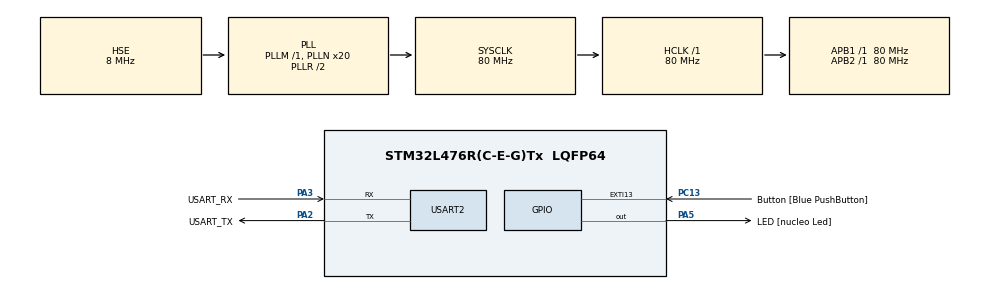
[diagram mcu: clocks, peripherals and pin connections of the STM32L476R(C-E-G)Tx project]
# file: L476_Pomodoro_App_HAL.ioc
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Mcu.Family=STM32L4
Mcu.Name=STM32L476R(C-E-G)Tx
Mcu.Package=LQFP64
NVIC.EXTI15_10_IRQn=true\:0\:0\:false\:false\:true\:true\:true\:true
NVIC.PriorityGroup=NVIC_PRIORITYGROUP_4
PA13\ (JTMS-SWDIO).GPIO_Label=TMS
PA13\ (JTMS-SWDIO).Mode=Trace_Asynchronous_SW
PA13\ (JTMS-SWDIO).Signal=SYS_JTMS-SWDIO
PA14\ (JTCK-SWCLK).GPIO_Label=TCK
PA14\ (JTCK-SWCLK).Mode=Trace_Asynchronous_SW
PA14\ (JTCK-SWCLK).Signal=SYS_JTCK-SWCLK
PA2.GPIO_Label=USART_TX
PA2.GPIO_Mode=GPIO_MODE_AF_PP
PA2.GPIO_PuPd=GPIO_NOPULL
PA2.GPIO_Speed=GPIO_SPEED_FREQ_VERY_HIGH
PA2.Mode=Asynchronous
PA2.Signal=USART2_TX
PA3.GPIO_Label=USART_RX
PA3.GPIO_Mode=GPIO_MODE_AF_PP
PA3.GPIO_PuPd=GPIO_NOPULL
PA3.GPIO_Speed=GPIO_SPEED_FREQ_VERY_HIGH
PA3.Mode=Asynchronous
PA3.Signal=USART2_RX
PA5.GPIO_Label=LED [nucleo Led]
PA5.GPIO_ModeDefaultOutputPP=GPIO_MODE_OUTPUT_PP
PA5.GPIO_PuPd=GPIO_NOPULL
PA5.GPIO_Speed=GPIO_SPEED_FREQ_LOW
PA5.Signal=GPIO_Output
PB3\ (JTDO-TRACESWO).GPIO_Label=SWO
PB3\ (JTDO-TRACESWO).Mode=Trace_Asynchronous_SW
PB3\ (JTDO-TRACESWO).Signal=SYS_JTDO-SWO
PC13.GPIO_Label=Button [Blue PushButton]
PC13.GPIO_ModeDefaultEXTI=GPIO_MODE_IT_FALLING
PC13.GPIO_PuPd=GPIO_NOPULL
PC13.Signal=GPXTI13
PC14-OSC32_IN\ (PC14).Mode=LSE-External-Oscillator
PC14-OSC32_IN\ (PC14).Signal=RCC_OSC32_IN
PC15-OSC32_OUT\ (PC15).Mode=LSE-External-Oscillator
PC15-OSC32_OUT\ (PC15).Signal=RCC_OSC32_OUT
PH0-OSC_IN\ (PH0).Mode=HSE-External-Oscillator
PH0-OSC_IN\ (PH0).Signal=RCC_OSC_IN
PH1-OSC_OUT\ (PH1).Mode=HSE-External-Oscillator
PH1-OSC_OUT\ (PH1).Signal=RCC_OSC_OUT
ProjectManager.HeapSize=0x200
ProjectManager.StackSize=0x400
ProjectManager.TargetToolchain=STM32CubeIDE
RCC.ADCFreq_Value=32000000
RCC.AHBFreq_Value=80000000
RCC.APB1Freq_Value=80000000
RCC.APB1TimFreq_Value=80000000
RCC.APB2Freq_Value=80000000
RCC.APB2TimFreq_Value=80000000
RCC.CortexFreq_Value=80000000
RCC.HCLKFreq_Value=80000000
RCC.HSE_VALUE=8000000
RCC.HSI_VALUE=16000000
RCC.MSI_VALUE=4000000
RCC.PLLN=20
RCC.PLLSourceVirtual=RCC_PLLSOURCE_HSE
RCC.PREFETCH_ENABLE=1
RCC.RTCClockSelection=RCC_RTCCLKSOURCE_LSE
RCC.SYSCLKFreq_VALUE=80000000
RCC.SYSCLKSource=RCC_SYSCLKSOURCE_PLLCLK
RCC.USBFreq_Value=32000000
RCC.VCOOutputFreq_Value=160000000
RTC.Date=12
RTC.Format=RTC_FORMAT_BCD
RTC.Hours=10
RTC.Minutes=20
RTC.Month=RTC_MONTH_AUGUST
RTC.Seconds=30
RTC.WeekDay=RTC_WEEKDAY_TUESDAY
RTC.Year=0
USART2.VirtualMode-Asynchronous=VM_ASYNC
VP_RTC_VS_RTC_Activate.Mode=RTC_Enabled
VP_RTC_VS_RTC_Calendar.Mode=RTC_Calendar
board=NUCLEO-L476RG

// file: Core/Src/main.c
/* USER CODE BEGIN Header */
/**
 ******************************************************************************
 * @file           : main.c
 * @brief          : Main program body
 ******************************************************************************
 * @attention
 *
 * Copyright (c) 2023 STMicroelectronics.
 * All rights reserved.
 *
 * This software is licensed under terms that can be found in the LICENSE file
 * in the root directory of this software component.
 * If no LICENSE file comes with this software, it is provided AS-IS.
 *
 ******************************************************************************
 */
/* USER CODE END Header */
#include "main.h"
#include "rtc.h"
#include "usart.h"
#include "gpio.h"

/* USER CODE BEGIN Includes */
#include "Common.h"
#include "Executer.h"

/* USER CODE END Includes */

/* USER CODE BEGIN PV */
BOOL bAlarmWasTriggered = FALSE;

/* USER CODE END PV */

void SystemClock_Config(void);

/* USER CODE BEGIN 0 */
#ifdef TEST
int testableMain(void)
{
#else
/* USER CODE END 0 */

int main(void)
{
  /* USER CODE BEGIN 1 */
#endif
  /* USER CODE END 1 */

  /* MCU Configuration--------------------------------------------------------*/

  /* Reset of all peripherals, Initializes the Flash interface and the Systick. */
  HAL_Init();

  /* Configure the system clock */
  SystemClock_Config();

  /* Initialize all configured peripherals */
  MX_GPIO_Init();
  MX_USART2_UART_Init();
  MX_RTC_Init();
  /* USER CODE BEGIN 2 */

  Executer_init();

  /* USER CODE END 2 */

  /* Infinite loop */
  /* USER CODE BEGIN WHILE */
  while (Executer_exec() == STATUS_OK)
  {
    /* USER CODE END WHILE */

    /* USER CODE BEGIN 3 */
    /**
     * Get the current time and date.
     * These are stored in the sTime
     * and the sDate handles
     */
    RTC_TimeTypeDef sTime = {0};
    RTC_DateTypeDef sDate = {0};
    // RTC_AlarmTypeDef sAlarm = {0};

    HAL_RTC_GetTime(&hrtc, &sTime, RTC_FORMAT_BIN);
    HAL_RTC_GetDate(&hrtc, &sDate, RTC_FORMAT_BIN);

    log_info("%d:%d:%d", sTime.Hours, sTime.Minutes, sTime.Seconds);
    log_info("%d-%d-%d-%d", sDate.Year, sDate.Date, sDate.Month, sDate.WeekDay);
    log_info("--------------------");

    if (bAlarmWasTriggered == TRUE)
    {
      HAL_GPIO_TogglePin(LED_GPIO_Port, LED_Pin);
    }
    HAL_Delay(1000);
  }
  /* USER CODE END 3 */
}

void SystemClock_Config(void)
{
  RCC_OscInitTypeDef RCC_OscInitStruct = {0};
  RCC_ClkInitTypeDef RCC_ClkInitStruct = {0};

  /** Configure the main internal regulator output voltage
  */
  if (HAL_PWREx_ControlVoltageScaling(PWR_REGULATOR_VOLTAGE_SCALE1) != HAL_OK)
  {
    Error_Handler();
  }

  /** Configure LSE Drive Capability
  */
  HAL_PWR_EnableBkUpAccess();
  __HAL_RCC_LSEDRIVE_CONFIG(RCC_LSEDRIVE_LOW);

  /** Initializes the RCC Oscillators according to the specified parameters
  * in the RCC_OscInitTypeDef structure.
  */
  RCC_OscInitStruct.OscillatorType = RCC_OSCILLATORTYPE_HSE|RCC_OSCILLATORTYPE_LSE;
  RCC_OscInitStruct.HSEState = RCC_HSE_ON;
  RCC_OscInitStruct.LSEState = RCC_LSE_ON;
  RCC_OscInitStruct.PLL.PLLState = RCC_PLL_ON;
  RCC_OscInitStruct.PLL.PLLSource = RCC_PLLSOURCE_HSE;
  RCC_OscInitStruct.PLL.PLLM = 1;
  RCC_OscInitStruct.PLL.PLLN = 20;
  RCC_OscInitStruct.PLL.PLLP = RCC_PLLP_DIV7;
  RCC_OscInitStruct.PLL.PLLQ = RCC_PLLQ_DIV2;
  RCC_OscInitStruct.PLL.PLLR = RCC_PLLR_DIV2;
  if (HAL_RCC_OscConfig(&RCC_OscInitStruct) != HAL_OK)
  {
    Error_Handler();
  }

  /** Initializes the CPU, AHB and APB buses clocks
  */
  RCC_ClkInitStruct.ClockType = RCC_CLOCKTYPE_HCLK|RCC_CLOCKTYPE_SYSCLK
                              |RCC_CLOCKTYPE_PCLK1|RCC_CLOCKTYPE_PCLK2;
  RCC_ClkInitStruct.SYSCLKSource = RCC_SYSCLKSOURCE_PLLCLK;
  RCC_ClkInitStruct.AHBCLKDivider = RCC_SYSCLK_DIV1;
  RCC_ClkInitStruct.APB1CLKDivider = RCC_HCLK_DIV1;
  RCC_ClkInitStruct.APB2CLKDivider = RCC_HCLK_DIV1;

  if (HAL_RCC_ClockConfig(&RCC_ClkInitStruct, FLASH_LATENCY_4) != HAL_OK)
  {
    Error_Handler();
  }
}

/* USER CODE BEGIN 4 */

void HAL_RTC_AlarmAEventCallback(RTC_HandleTypeDef *hrtc)
{
  bAlarmWasTriggered = TRUE;
}

/* USER CODE END 4 */

void Error_Handler(void)
{
  /* USER CODE BEGIN Error_Handler_Debug */
  /* User can add his own implementation to report the HAL error return state
   */
  __disable_irq();
  while (1)
  {
  }
  /* USER CODE END Error_Handler_Debug */
}

#ifdef  USE_FULL_ASSERT
/**
  * @brief  Reports the name of the source file and the source line number
  *         where the assert_param error has occurred.
  * @param  file: pointer to the source file name
  * @param  line: assert_param error line source number
  * @retval None
  */
void assert_failed(uint8_t *file, uint32_t line)
{
  /* USER CODE BEGIN 6 */
  /* User can add his own implementation to report the file name and line
     number, ex: printf("Wrong parameters value: file %s on line %d\r\n",
     file, line) */
  /* USER CODE END 6 */
}
#endif /* USE_FULL_ASSERT */
